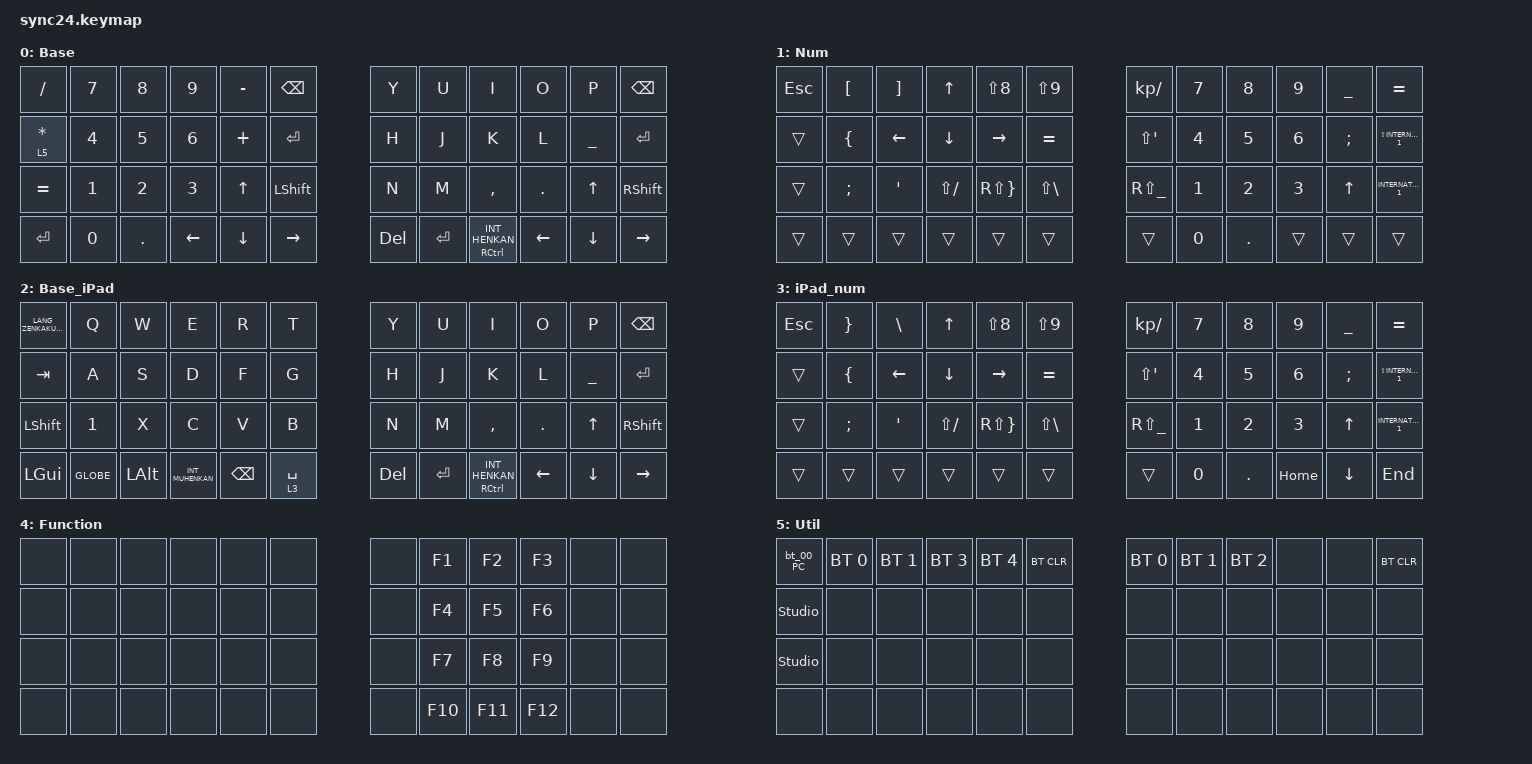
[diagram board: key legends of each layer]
#define ZMK_BEHAVIORS_OMIT_KT

#undef ZMK_BEHAVIORS_KEEP_ALL

#define ZMK_BEHAVIORS_KEEP_SK
#define ZMK_BEHAVIORS_KEEP_MT
#define ZMK_BEHAVIORS_KEEP_KT

#include <behaviors.dtsi>
#include <dt-bindings/zmk/bt.h>
#include <dt-bindings/zmk/keys.h>

/ {
    combos {
        compatible = "zmk,combos";

        combo_util {
            timeout-ms = <50>;
            key-positions = <36 37>;
            bindings = <&mo 5>;
        };

        esca {
            bindings = <&kp ESC>;
            key-positions = <0 1>;
        };
    };

    macros {
        word_math: word_math {
            compatible = "zmk,behavior-macro";
            #binding-cells = <0>;
            bindings = <&kp INT_MUHENKAN &kp LA(LS(MINUS)) &kp SPACE &kp SPACE &kp LEFT_ARROW>;
            label = "WORD_MATH";
        };

        bt_01_iPad: bt_01_iPad {
            compatible = "zmk,behavior-macro";
            #binding-cells = <0>;
            bindings = <&bt BT_SEL 1 &to 2>;
            label = "BT_01_IPAD";
        };

        bt_00_PC: bt_00_PC {
            compatible = "zmk,behavior-macro";
            #binding-cells = <0>;
            bindings = <&bt BT_SEL 0 &to 0>;
            label = "BT_00_PC";
        };
    };

    keymap {
        compatible = "zmk,keymap";

        // ▄▄▄▄▄▄▄▄▄▄▄▄▄▄▄▄▄▄▄▄▄▄▄▄▄▄▄▄▄▄▄▄▄▄▄▄▄▄▄▄▄▄▄▄▄▄▄▄▄▄▄▄▄▄▄▄▄▄▄▄▄▄▄▄▄▄▄▄▄▄▄▄▄▄▄▄▄▄▄▄▄▄▄▄▄▄▄▄▄▄▄▄▄▄▄▄▄▄▄▄▄▄▄▄▄▄▄▄▄▄▄▄▄▄▄▄▄▄▄▄▄▄▄▄▄▄▄▄▄▄▄▄▄▄▄▄▄▄▄▄▄▄▄▄▄▄▄▄▄

        base {
            display-name = "Base";
            bindings = <
&kp SLASH       &kp N7        &kp N8        &kp N9        &kp MINUS       &kp BACKSPACE       &kp Y    &kp U      &kp I                         &kp O           &kp P           &kp BACKSPACE
&lt 5 ASTERISK  &kp NUMBER_4  &kp N5        &kp NUMBER_6  &kp PLUS        &kp ENTER           &kp H    &kp J      &kp K                         &kp L           &kp UNDERSCORE  &kp RET
&kp EQUAL       &kp NUMBER_1  &kp NUMBER_2  &kp NUMBER_3  &kp UP_ARROW    &kp LEFT_SHIFT      &kp N    &kp M      &kp COMMA                     &kp DOT         &kp UP          &kp RIGHT_SHIFT
&kp ENTER       &kp N0        &kp PERIOD    &kp LEFT      &kp DOWN_ARROW  &kp RIGHT           &kp DEL  &kp ENTER  &mt RIGHT_CONTROL INT_HENKAN  &kp LEFT_ARROW  &kp DOWN_ARROW  &kp RIGHT
            >;
        };

        num {
            display-name = "Num";
            bindings = <
&kp ESC  &kp LEFT_BRACKET  &kp RIGHT_BRACKET  &kp UP_ARROW    &kp LS(N8)           &kp LS(N9)             &kp KP_DIVIDE       &kp NUMBER_7  &kp NUMBER_8  &kp NUMBER_9  &kp UNDERSCORE  &kp EQUAL
&trans   &kp LEFT_BRACE    &kp LEFT_ARROW     &kp DOWN_ARROW  &kp RIGHT            &kp EQUAL              &kp LS(APOS)        &kp N4        &kp N5        &kp N6        &kp SEMI        &kp LS(INTERNATIONAL_1)
&trans   &kp SEMI          &kp APOS           &kp LS(SLASH)   &kp RS(RIGHT_BRACE)  &kp LS(BACKSLASH)      &kp RS(UNDERSCORE)  &kp NUMBER_1  &kp NUMBER_2  &kp NUMBER_3  &kp UP_ARROW    &kp INTERNATIONAL_1
&trans   &trans            &trans             &trans          &trans               &trans                 &trans              &kp N0        &kp DOT       &trans        &trans          &trans
            >;
        };

        Base_iPad {
            display-name = "Base_iPad";
            bindings = <
&kp LANG_ZENKAKUHANKAKU  &kp Q         &kp W     &kp E             &kp R     &kp T            &kp Y    &kp U      &kp I                         &kp O           &kp P           &kp BACKSPACE
&kp TAB                  &kp A         &kp S     &kp D             &kp F     &kp G            &kp H    &kp J      &kp K                         &kp L           &kp UNDERSCORE  &kp RET
&kp LSHFT                &kp NUMBER_1  &kp X     &kp C             &kp V     &kp B            &kp N    &kp M      &kp COMMA                     &kp DOT         &kp UP          &kp RSHIFT
&kp LEFT_GUI             &kp GLOBE     &kp LALT  &kp INT_MUHENKAN  &kp BSPC  &lt 3 SPACE      &kp DEL  &kp ENTER  &mt RIGHT_CONTROL INT_HENKAN  &kp LEFT_ARROW  &kp DOWN_ARROW  &kp RIGHT
            >;
        };

        iPad_num {
            display-name = "iPad_num";
            bindings = <
&kp ESC  &kp RIGHT_BRACE  &kp BACKSLASH   &kp UP_ARROW    &kp LS(N8)           &kp LS(N9)             &kp KP_DIVIDE       &kp NUMBER_7  &kp NUMBER_8  &kp NUMBER_9  &kp UNDERSCORE  &kp EQUAL
&trans   &kp LEFT_BRACE   &kp LEFT_ARROW  &kp DOWN_ARROW  &kp RIGHT            &kp EQUAL              &kp LS(APOS)        &kp N4        &kp N5        &kp N6        &kp SEMI        &kp LS(INTERNATIONAL_1)
&trans   &kp SEMI         &kp APOS        &kp LS(SLASH)   &kp RS(RIGHT_BRACE)  &kp LS(BACKSLASH)      &kp RS(UNDERSCORE)  &kp NUMBER_1  &kp NUMBER_2  &kp NUMBER_3  &kp UP_ARROW    &kp INTERNATIONAL_1
&trans   &trans           &trans          &trans          &trans               &trans                 &trans              &kp N0        &kp DOT       &kp HOME      &kp DOWN_ARROW  &kp END
            >;
        };

        function {
            display-name = "Function";
            bindings = <
&none  &none  &none  &none  &none  &none      &none  &kp F1   &kp F2   &kp F3   &none  &none
&none  &none  &none  &none  &none  &none      &none  &kp F4   &kp F5   &kp F6   &none  &none
&none  &none  &none  &none  &none  &none      &none  &kp F7   &kp F8   &kp F9   &none  &none
&none  &none  &none  &none  &none  &none      &none  &kp F10  &kp F11  &kp F12  &none  &none
            >;
        };

        util {
            display-name = "Util";
            bindings = <
&bt_00_PC       &bt BT_SEL 0  &bt BT_SEL 1  &bt BT_SEL 3  &bt BT_SEL 4  &bt BT_CLR      &bt BT_SEL 0  &bt BT_SEL 1  &bt BT_SEL 2  &none  &none  &bt BT_CLR
&studio_unlock  &none         &none         &none         &none         &none           &none         &none         &none         &none  &none  &none
&studio_unlock  &none         &none         &none         &none         &none           &none         &none         &none         &none  &none  &none
&none           &none         &none         &none         &none         &none           &none         &none         &none         &none  &none  &none
            >;
        };
    };
};
